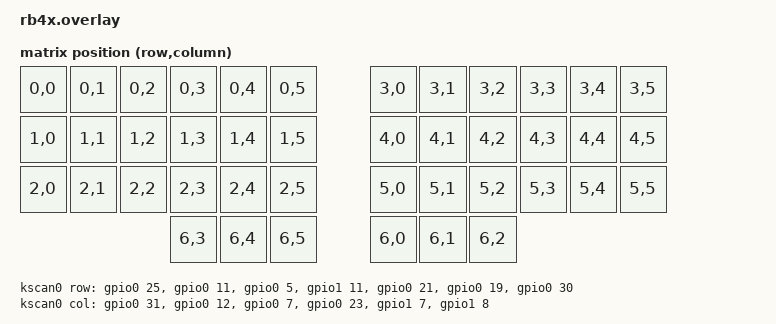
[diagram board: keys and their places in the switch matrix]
/*
 * Copyright (c) 2021 The ZMK Contributors
 *
 * SPDX-License-Identifier: MIT
 */

#include <dt-bindings/zmk/matrix_transform.h>

/ {
    chosen {
        zmk,kscan = &kscan0;
        zmk,matrix_transform = &default_transform;
    };

    default_transform: keymap_transform_0 {
        compatible = "zmk,matrix-transform";
        columns = <6>;
        rows = <7>;

        map = <
            RC(0,0) RC(0,1) RC(0,2) RC(0,3) RC(0,4) RC(0,5) RC(3,0) RC(3,1) RC(3,2) RC(3,3) RC(3,4) RC(3,5)
            RC(1,0) RC(1,1) RC(1,2) RC(1,3) RC(1,4) RC(1,5) RC(4,0) RC(4,1) RC(4,2) RC(4,3) RC(4,4) RC(4,5)
            RC(2,0) RC(2,1) RC(2,2) RC(2,3) RC(2,4) RC(2,5) RC(5,0) RC(5,1) RC(5,2) RC(5,3) RC(5,4) RC(5,5)
                                    RC(6,3) RC(6,4) RC(6,5) RC(6,0) RC(6,1) RC(6,2)
        >;
    };

    kscan0: kscan_0 {
        compatible = "zmk,kscan-gpio-matrix";
        label = "KSCAN";
        diode-direction = "col2row";
		row-gpios
			= <&gpio0 25 (GPIO_ACTIVE_HIGH | GPIO_PULL_DOWN)>
			, <&gpio0 11 (GPIO_ACTIVE_HIGH | GPIO_PULL_DOWN)>
			, <&gpio0 5  (GPIO_ACTIVE_HIGH | GPIO_PULL_DOWN)>
			, <&gpio1 11 (GPIO_ACTIVE_HIGH | GPIO_PULL_DOWN)>
            , <&gpio0 21 (GPIO_ACTIVE_HIGH | GPIO_PULL_DOWN)>
            , <&gpio0 19 (GPIO_ACTIVE_HIGH | GPIO_PULL_DOWN)>
            , <&gpio0 30 (GPIO_ACTIVE_HIGH | GPIO_PULL_DOWN)>
            ;
		col-gpios
			= <&gpio0 31  GPIO_ACTIVE_HIGH>
			, <&gpio0 12  GPIO_ACTIVE_HIGH>
			, <&gpio0 7   GPIO_ACTIVE_HIGH>
			, <&gpio0 23  GPIO_ACTIVE_HIGH>
            , <&gpio1 7   GPIO_ACTIVE_HIGH>
            , <&gpio1 8   GPIO_ACTIVE_HIGH>
			;
	};
};

// col 1 and 3 
//     6     26
// row 2 and 3
//     27    8
/* 
 * MATRIX_ROW_PINS { B10, B1, A7, B13, B8, B9, A1 }
 *                    25, 11, 27,  44,  7, 12, 30
 * MATRIX_COL_PINS { A4, A5, A6, A3, A2, B0}
 *                   31,  6,  8, 26, 39, 40
 */
 
//27 8 6 26
// 5 7 12 23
